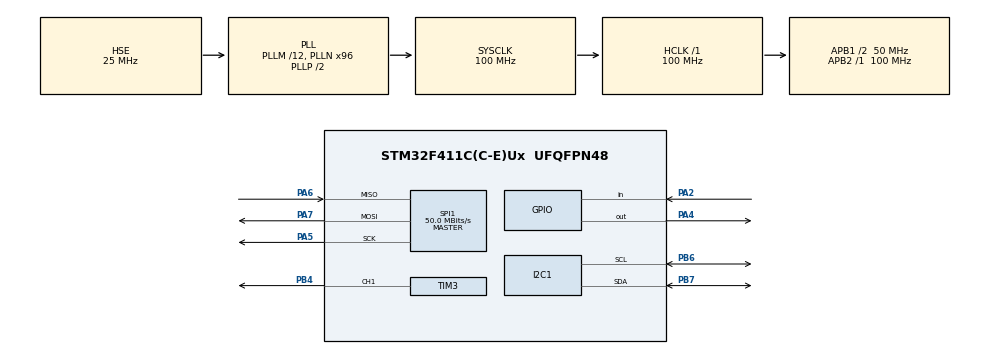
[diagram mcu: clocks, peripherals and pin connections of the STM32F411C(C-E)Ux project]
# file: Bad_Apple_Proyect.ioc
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I2C1.DutyCycle=I2C_DUTYCYCLE_16_9
I2C1.I2C_Mode=I2C_Fast
Mcu.Family=STM32F4
Mcu.Name=STM32F411C(C-E)Ux
Mcu.Package=UFQFPN48
NVIC.PriorityGroup=NVIC_PRIORITYGROUP_4
PA2.GPIO_PuPd=GPIO_PULLUP
PA2.Signal=GPIO_Input
PA4.GPIO_Speed=GPIO_SPEED_FREQ_HIGH
PA4.Signal=GPIO_Output
PA5.Mode=Full_Duplex_Master
PA5.Signal=SPI1_SCK
PA6.Mode=Full_Duplex_Master
PA6.Signal=SPI1_MISO
PA7.Mode=Full_Duplex_Master
PA7.Signal=SPI1_MOSI
PB4.Signal=S_TIM3_CH1
PB6.Mode=I2C
PB6.Signal=I2C1_SCL
PB7.Mode=I2C
PB7.Signal=I2C1_SDA
PC14-OSC32_IN.Mode=LSE-External-Oscillator
PC14-OSC32_IN.Signal=RCC_OSC32_IN
PC15-OSC32_OUT.Mode=LSE-External-Oscillator
PC15-OSC32_OUT.Signal=RCC_OSC32_OUT
PH0\ -\ OSC_IN.Mode=HSE-External-Oscillator
PH0\ -\ OSC_IN.Signal=RCC_OSC_IN
PH1\ -\ OSC_OUT.Mode=HSE-External-Oscillator
PH1\ -\ OSC_OUT.Signal=RCC_OSC_OUT
ProjectManager.HeapSize=0x200
ProjectManager.StackSize=0x400
ProjectManager.TargetToolchain=STM32CubeIDE
RCC.48MHZClocksFreq_Value=50000000
RCC.AHBFreq_Value=100000000
RCC.APB1CLKDivider=RCC_HCLK_DIV2
RCC.APB1Freq_Value=50000000
RCC.APB1TimFreq_Value=100000000
RCC.APB2Freq_Value=100000000
RCC.APB2TimFreq_Value=100000000
RCC.CortexFreq_Value=100000000
RCC.HCLKFreq_Value=100000000
RCC.HSE_VALUE=25000000
RCC.HSI_VALUE=16000000
RCC.PLLM=12
RCC.PLLN=96
RCC.PLLSourceVirtual=RCC_PLLSOURCE_HSE
RCC.SYSCLKFreq_VALUE=100000000
RCC.SYSCLKSource=RCC_SYSCLKSOURCE_PLLCLK
RCC.VCOOutputFreq_Value=200000000
SH.S_TIM3_CH1.0=TIM3_CH1,PWM Generation1 CH1
SPI1.BaudRatePrescaler=SPI_BAUDRATEPRESCALER_2
SPI1.CalculateBaudRate=50.0 MBits/s
SPI1.Direction=SPI_DIRECTION_2LINES
SPI1.Mode=SPI_MODE_MASTER
SPI1.VirtualType=VM_MASTER
TIM3.Channel-PWM\ Generation1\ CH1=TIM_CHANNEL_1
TIM3.Period=1606
board=custom

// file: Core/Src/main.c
/* USER CODE BEGIN Header */
/**
  ******************************************************************************
  * @file           : main.c
  * @brief          : Main program body
  ******************************************************************************
  * @attention
  *
  * Copyright (c) 2025 STMicroelectronics.
  * All rights reserved.
  *
  * This software is licensed under terms that can be found in the LICENSE file
  * in the root directory of this software component.
  * If no LICENSE file comes with this software, it is provided AS-IS.
  *
  ******************************************************************************
  */
/* USER CODE END Header */
#include "main.h"

/* USER CODE BEGIN Includes */
#include "ssd1306.h"
#include "flashSPI.h"
/* USER CODE END Includes */

/* USER CODE BEGIN PD */
#define FRAME_WIDTH   128
#define FRAME_HEIGHT  64
#define FRAME_SIZE    (FRAME_WIDTH * FRAME_HEIGHT / 8)  // 1024 bytes
#define FRAME_DELAY   33.3  // ms

// Dirección de inicio en la flash
#define FLASH_START   0x000000

// Ajusta este valor al tamaño real de BadApple.bin
// (ej: si pesa 2,048,000 bytes => 2000 frames)
#define BIN_SIZE      6729728
#define TOTAL_FRAMES  (BIN_SIZE / FRAME_SIZE)
/* USER CODE END PD */

I2C_HandleTypeDef hi2c1;

SPI_HandleTypeDef hspi1;

TIM_HandleTypeDef htim3;

void SystemClock_Config(void);
static void MX_GPIO_Init(void);
static void MX_I2C1_Init(void);
static void MX_SPI1_Init(void);
static void MX_TIM3_Init(void);

/* USER CODE BEGIN 0 */

void ShowFramesFromFlash(void) {
    static uint8_t frameBuf[FRAME_SIZE];   // buffer estático

    uint32_t addr = FLASH_START;
    uint32_t frame = 0;

    while (1) {
    	SPI_FLASH_WaitForReady();          // esperar a que la flash esté lista
        SPI_FLASH_Read(addr, frameBuf, FRAME_SIZE);

        ssd1306_Fill(Black);
        ssd1306_DrawBitmap(0, 0, frameBuf, FRAME_WIDTH, FRAME_HEIGHT, White);
        ssd1306_UpdateScreen();

        addr  += FRAME_SIZE;
        frame += 1;

        if (frame >= TOTAL_FRAMES) {
            addr  = FLASH_START;
            frame = 0;
        }

        HAL_Delay(FRAME_DELAY);
    }
}

/* USER CODE END 0 */

int main(void)
{

  /* MCU Configuration--------------------------------------------------------*/

  /* Reset of all peripherals, Initializes the Flash interface and the Systick. */
  HAL_Init();

  /* Configure the system clock */
  SystemClock_Config();

  /* Initialize all configured peripherals */
  MX_GPIO_Init();
  MX_I2C1_Init();
  MX_SPI1_Init();
  MX_TIM3_Init();
  /* USER CODE BEGIN 2 */
  // Inicializar periféricos
  SPI_FLASH_Init();
  ssd1306_Init();

  // Mostrar frames
  ShowFramesFromFlash();
  /* USER CODE END 2 */

  /* Infinite loop */
  while (1)
  {

  }
}

void SystemClock_Config(void)
{
  RCC_OscInitTypeDef RCC_OscInitStruct = {0};
  RCC_ClkInitTypeDef RCC_ClkInitStruct = {0};

  /** Configure the main internal regulator output voltage
  */
  __HAL_RCC_PWR_CLK_ENABLE();
  __HAL_PWR_VOLTAGESCALING_CONFIG(PWR_REGULATOR_VOLTAGE_SCALE1);

  /** Initializes the RCC Oscillators according to the specified parameters
  * in the RCC_OscInitTypeDef structure.
  */
  RCC_OscInitStruct.OscillatorType = RCC_OSCILLATORTYPE_HSE;
  RCC_OscInitStruct.HSEState = RCC_HSE_ON;
  RCC_OscInitStruct.PLL.PLLState = RCC_PLL_ON;
  RCC_OscInitStruct.PLL.PLLSource = RCC_PLLSOURCE_HSE;
  RCC_OscInitStruct.PLL.PLLM = 12;
  RCC_OscInitStruct.PLL.PLLN = 96;
  RCC_OscInitStruct.PLL.PLLP = RCC_PLLP_DIV2;
  RCC_OscInitStruct.PLL.PLLQ = 4;
  if (HAL_RCC_OscConfig(&RCC_OscInitStruct) != HAL_OK)
  {
    Error_Handler();
  }

  /** Initializes the CPU, AHB and APB buses clocks
  */
  RCC_ClkInitStruct.ClockType = RCC_CLOCKTYPE_HCLK|RCC_CLOCKTYPE_SYSCLK
                              |RCC_CLOCKTYPE_PCLK1|RCC_CLOCKTYPE_PCLK2;
  RCC_ClkInitStruct.SYSCLKSource = RCC_SYSCLKSOURCE_PLLCLK;
  RCC_ClkInitStruct.AHBCLKDivider = RCC_SYSCLK_DIV1;
  RCC_ClkInitStruct.APB1CLKDivider = RCC_HCLK_DIV2;
  RCC_ClkInitStruct.APB2CLKDivider = RCC_HCLK_DIV1;

  if (HAL_RCC_ClockConfig(&RCC_ClkInitStruct, FLASH_LATENCY_3) != HAL_OK)
  {
    Error_Handler();
  }
}

static void MX_I2C1_Init(void)
{

  hi2c1.Instance = I2C1;
  hi2c1.Init.ClockSpeed = 400000;
  hi2c1.Init.DutyCycle = I2C_DUTYCYCLE_16_9;
  hi2c1.Init.OwnAddress1 = 0;
  hi2c1.Init.AddressingMode = I2C_ADDRESSINGMODE_7BIT;
  hi2c1.Init.DualAddressMode = I2C_DUALADDRESS_DISABLE;
  hi2c1.Init.OwnAddress2 = 0;
  hi2c1.Init.GeneralCallMode = I2C_GENERALCALL_DISABLE;
  hi2c1.Init.NoStretchMode = I2C_NOSTRETCH_DISABLE;
  if (HAL_I2C_Init(&hi2c1) != HAL_OK)
  {
    Error_Handler();
  }

}

static void MX_SPI1_Init(void)
{

  /* SPI1 parameter configuration*/
  hspi1.Instance = SPI1;
  hspi1.Init.Mode = SPI_MODE_MASTER;
  hspi1.Init.Direction = SPI_DIRECTION_2LINES;
  hspi1.Init.DataSize = SPI_DATASIZE_8BIT;
  hspi1.Init.CLKPolarity = SPI_POLARITY_LOW;
  hspi1.Init.CLKPhase = SPI_PHASE_1EDGE;
  hspi1.Init.NSS = SPI_NSS_SOFT;
  hspi1.Init.BaudRatePrescaler = SPI_BAUDRATEPRESCALER_2;
  hspi1.Init.FirstBit = SPI_FIRSTBIT_MSB;
  hspi1.Init.TIMode = SPI_TIMODE_DISABLE;
  hspi1.Init.CRCCalculation = SPI_CRCCALCULATION_DISABLE;
  hspi1.Init.CRCPolynomial = 10;
  if (HAL_SPI_Init(&hspi1) != HAL_OK)
  {
    Error_Handler();
  }

}

static void MX_TIM3_Init(void)
{

  TIM_MasterConfigTypeDef sMasterConfig = {0};
  TIM_OC_InitTypeDef sConfigOC = {0};

  htim3.Instance = TIM3;
  htim3.Init.Prescaler = 0;
  htim3.Init.CounterMode = TIM_COUNTERMODE_UP;
  htim3.Init.Period = 1606;
  htim3.Init.ClockDivision = TIM_CLOCKDIVISION_DIV1;
  htim3.Init.AutoReloadPreload = TIM_AUTORELOAD_PRELOAD_DISABLE;
  if (HAL_TIM_PWM_Init(&htim3) != HAL_OK)
  {
    Error_Handler();
  }
  sMasterConfig.MasterOutputTrigger = TIM_TRGO_RESET;
  sMasterConfig.MasterSlaveMode = TIM_MASTERSLAVEMODE_DISABLE;
  if (HAL_TIMEx_MasterConfigSynchronization(&htim3, &sMasterConfig) != HAL_OK)
  {
    Error_Handler();
  }
  sConfigOC.OCMode = TIM_OCMODE_PWM1;
  sConfigOC.Pulse = 0;
  sConfigOC.OCPolarity = TIM_OCPOLARITY_HIGH;
  sConfigOC.OCFastMode = TIM_OCFAST_DISABLE;
  if (HAL_TIM_PWM_ConfigChannel(&htim3, &sConfigOC, TIM_CHANNEL_1) != HAL_OK)
  {
    Error_Handler();
  }
  HAL_TIM_MspPostInit(&htim3);

}

static void MX_GPIO_Init(void)
{
  GPIO_InitTypeDef GPIO_InitStruct = {0};

  /* GPIO Ports Clock Enable */
  __HAL_RCC_GPIOC_CLK_ENABLE();
  __HAL_RCC_GPIOH_CLK_ENABLE();
  __HAL_RCC_GPIOA_CLK_ENABLE();
  __HAL_RCC_GPIOB_CLK_ENABLE();

  /*Configure GPIO pin Output Level */
  HAL_GPIO_WritePin(GPIOA, GPIO_PIN_4, GPIO_PIN_RESET);

  /*Configure GPIO pin : PA2 */
  GPIO_InitStruct.Pin = GPIO_PIN_2;
  GPIO_InitStruct.Mode = GPIO_MODE_INPUT;
  GPIO_InitStruct.Pull = GPIO_PULLUP;
  HAL_GPIO_Init(GPIOA, &GPIO_InitStruct);

  /*Configure GPIO pin : PA4 */
  GPIO_InitStruct.Pin = GPIO_PIN_4;
  GPIO_InitStruct.Mode = GPIO_MODE_OUTPUT_PP;
  GPIO_InitStruct.Pull = GPIO_NOPULL;
  GPIO_InitStruct.Speed = GPIO_SPEED_FREQ_HIGH;
  HAL_GPIO_Init(GPIOA, &GPIO_InitStruct);

}

void Error_Handler(void)
{
  __disable_irq();
  while (1)
  {
  }
}
